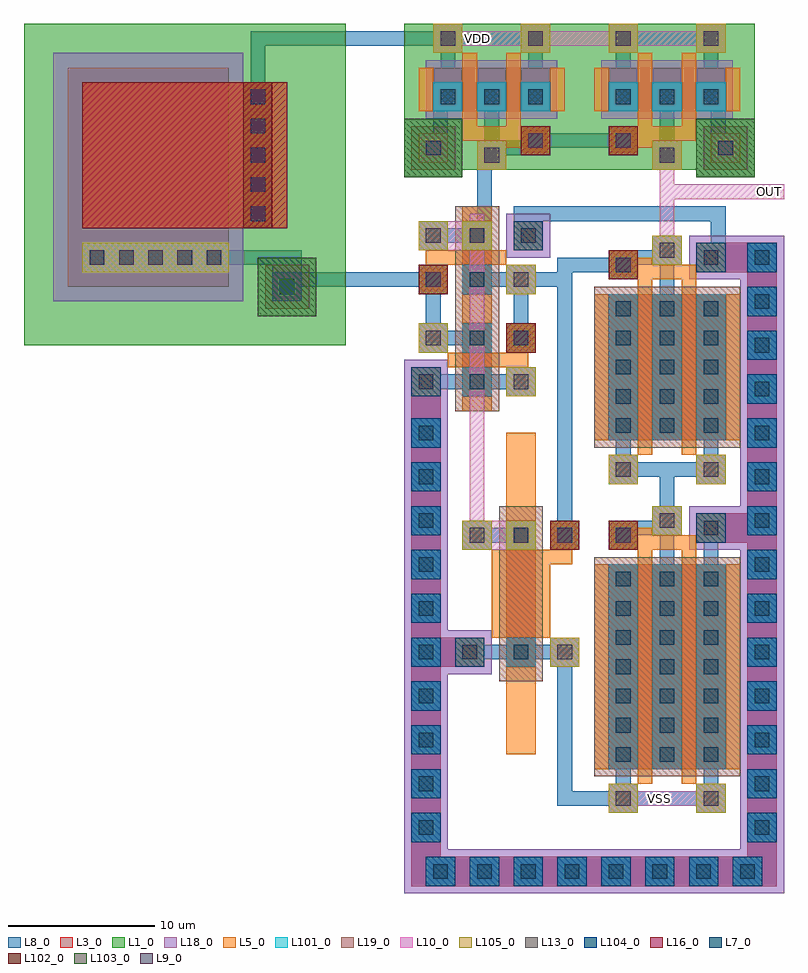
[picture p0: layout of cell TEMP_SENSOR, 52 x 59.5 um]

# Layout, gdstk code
from math import pi, radians
import gdstk
lib = gdstk.Library(unit=1e-6, precision=1e-09)
def R(c, l, rs):  # rectangles x0, y0, x1, y1
    for r in rs: c.add(gdstk.rectangle(r[:2], r[2:], *l))
L1_0 = (1, 0)
L3_0 = (3, 0)
L5_0 = (5, 0)
L7_0 = (7, 0)
L8_0 = (8, 0)
L9_0 = (9, 0)
L10_0 = (10, 0)
L13_0 = (13, 0)
L16_0 = (16, 0)
L18_0 = (18, 0)
L19_0 = (19, 0)
L101_0 = (101, 0)
L102_0 = (102, 0)
L103_0 = (103, 0)
L104_0 = (104, 0)
L105_0 = (105, 0)

dcont = lib.new_cell('dcont')
R(dcont, L3_0, [(-1,-1,1,1)])
R(dcont, L7_0, [(-0.5,-0.5,0.5,0.5)])
R(dcont, L8_0, [(-1,-1,1,1)])
R(dcont, L13_0, [(-0.5,-0.5,0.5,0.5)])
R(dcont, L101_0, [(-1,-1,1,1)])
dcont.add(gdstk.Label('dcont', (0,0), layer=13, texttype=0))

pcont = lib.new_cell('pcont')
R(pcont, L5_0, [(-1,-1,1,1)])
R(pcont, L7_0, [(-0.5,-0.5,0.5,0.5)])
R(pcont, L8_0, [(-1,-1,1,1)])
R(pcont, L13_0, [(-0.5,-0.5,0.5,0.5)])
R(pcont, L102_0, [(-1,-1,1,1)])
pcont.add(gdstk.Label('pcont', (0,0), layer=13, texttype=0))

via = lib.new_cell('Via')
R(via, L8_0, [(-1,-1,1,1)])
R(via, L9_0, [(-0.5,-0.5,0.5,0.5)])
R(via, L10_0, [(-1,-1,1,1)])
R(via, L13_0, [(-0.5,-0.5,0.5,0.5)])
R(via, L105_0, [(-1,-1,1,1)])
via.add(gdstk.Label('via', (0,0), layer=13, texttype=0))

psubcont = lib.new_cell('psubcont')
R(psubcont, L18_0, [(-1.5,-1.5,1.5,1.5)])
R(psubcont, L104_0, [(-1,-1,1,1)])
psubcont.add(gdstk.Reference(dcont, (0,0)))
psubcont.add(gdstk.Label('PScon', (0,0), layer=13, texttype=0))

nch_4 = lib.new_cell('Nch$4')
R(nch_4, L3_0, [(0,3,10,5)])
R(nch_4, L19_0, [(-1,2.5,11,5.5)])
nch_4.add(gdstk.FlexPath([(1,3),(1,5)], 2, ends="flush", simple_path=True, layer=8, datatype=0))  # L8_0
nch_4.add(gdstk.FlexPath([(9,3),(9,5)], 2, ends="flush", simple_path=True, layer=8, datatype=0))  # L8_0
nch_4.add(gdstk.FlexPath([(1,1),(1,4)], 1, ends="flush", simple_path=True, layer=8, datatype=0))  # L8_0
nch_4.add(gdstk.FlexPath([(9,5),(9,8)], 1, ends="flush", simple_path=True, layer=8, datatype=0))  # L8_0
nch_4.add(gdstk.FlexPath([(5,3),(5,5)], 6, ends=(1, 1), simple_path=True, layer=5, datatype=0))  # L5_0
nch_4.add(gdstk.FlexPath([(1,7),(2.5,7),(2.5,6)], 1, ends="flush", simple_path=True, layer=5, datatype=0))  # L5_0
nch_4.add(gdstk.Reference(dcont, (1,4)))
nch_4.add(gdstk.Reference(dcont, (9,4)))
nch_4.add(gdstk.Reference(pcont, (1,7)))
nch_4.add(gdstk.Reference(via, (1,7)))
nch_4.add(gdstk.Reference(via, (1,1)))
nch_4.add(gdstk.Reference(via, (9,7)))
nch_4.add(gdstk.Reference(psubcont, (9,0.5)))
nch_4.add(gdstk.Reference(via, (9,0.5)))

nch_2 = lib.new_cell('Nch$2')
R(nch_2, L3_0, [(0,3,8,17)])
R(nch_2, L19_0, [(-1,2.5,9,17.5)])
nch_2.add(gdstk.FlexPath([(1,3),(1,17)], 2, ends="flush", simple_path=True, layer=8, datatype=0))  # L8_0
nch_2.add(gdstk.FlexPath([(4,3),(4,17)], 2, ends="flush", simple_path=True, layer=8, datatype=0))  # L8_0
nch_2.add(gdstk.FlexPath([(7,3),(7,17)], 2, ends="flush", simple_path=True, layer=8, datatype=0))  # L8_0
nch_2.add(gdstk.FlexPath([(1,1),(1,4)], 1, ends="flush", simple_path=True, layer=8, datatype=0))  # L8_0
nch_2.add(gdstk.FlexPath([(4,17),(4,20)], 1, ends="flush", simple_path=True, layer=8, datatype=0))  # L8_0
nch_2.add(gdstk.FlexPath([(7,1),(7,4)], 1, ends="flush", simple_path=True, layer=8, datatype=0))  # L8_0
nch_2.add(gdstk.FlexPath([(1,1),(7,1)], 1, ends="flush", simple_path=True, layer=8, datatype=0))  # L8_0
nch_2.add(gdstk.FlexPath([(2.5,3),(2.5,17)], 1, ends=(1, 1), simple_path=True, layer=5, datatype=0))  # L5_0
nch_2.add(gdstk.FlexPath([(5.5,3),(5.5,17)], 1, ends=(1, 1), simple_path=True, layer=5, datatype=0))  # L5_0
nch_2.add(gdstk.FlexPath([(1,19),(2.5,19),(2.5,18)], 1, ends="flush", simple_path=True, layer=5, datatype=0))  # L5_0
nch_2.add(gdstk.FlexPath([(2,18.5),(6,18.5)], 1, ends="flush", simple_path=True, layer=5, datatype=0))  # L5_0
nch_2.add(gdstk.Reference(dcont, (1,4)))
nch_2.add(gdstk.Reference(dcont, (1,6)))
nch_2.add(gdstk.Reference(dcont, (1,8)))
nch_2.add(gdstk.Reference(dcont, (1,10)))
nch_2.add(gdstk.Reference(dcont, (1,12)))
nch_2.add(gdstk.Reference(dcont, (1,14)))
nch_2.add(gdstk.Reference(dcont, (1,16)))
nch_2.add(gdstk.Reference(dcont, (4,4)))
nch_2.add(gdstk.Reference(dcont, (4,6)))
nch_2.add(gdstk.Reference(dcont, (4,8)))
nch_2.add(gdstk.Reference(dcont, (4,10)))
nch_2.add(gdstk.Reference(dcont, (4,12)))
nch_2.add(gdstk.Reference(dcont, (4,14)))
nch_2.add(gdstk.Reference(dcont, (4,16)))
nch_2.add(gdstk.Reference(dcont, (7,4)))
nch_2.add(gdstk.Reference(dcont, (7,6)))
nch_2.add(gdstk.Reference(dcont, (7,8)))
nch_2.add(gdstk.Reference(dcont, (7,10)))
nch_2.add(gdstk.Reference(dcont, (7,12)))
nch_2.add(gdstk.Reference(dcont, (7,14)))
nch_2.add(gdstk.Reference(dcont, (7,16)))
nch_2.add(gdstk.Reference(pcont, (1,19)))
nch_2.add(gdstk.Reference(via, (1,19)))
nch_2.add(gdstk.Reference(via, (1,1)))
nch_2.add(gdstk.Reference(via, (4,20)))
nch_2.add(gdstk.Reference(via, (7,1)))
nch_2.add(gdstk.Reference(psubcont, (7,19.5)))
nch_2.add(gdstk.Reference(via, (7,19.5)))

nsubcont = lib.new_cell('nsubcont')
R(nsubcont, L1_0, [(-2,-2,2,2)])
R(nsubcont, L19_0, [(-1.5,-1.5,1.5,1.5)])
R(nsubcont, L103_0, [(-2,-2,2,2)])
nsubcont.add(gdstk.Reference(dcont, (0,0)))
nsubcont.add(gdstk.Label('NScont', (0,0), layer=13, texttype=0))

capacitor_1 = lib.new_cell('Capacitor$1')
R(capacitor_1, L1_0, [(-4,-4,18,18)])
R(capacitor_1, L3_0, [(4,-1,15,14)])
R(capacitor_1, L5_0, [(0,0,14,10)])
R(capacitor_1, L16_0, [(0,0,14,10)])
R(capacitor_1, L18_0, [(3,-2,16,15)])
capacitor_1.add(gdstk.Reference(pcont, (2,1)))
capacitor_1.add(gdstk.Reference(pcont, (2,3)))
capacitor_1.add(gdstk.Reference(pcont, (2,5)))
capacitor_1.add(gdstk.Reference(pcont, (2,7)))
capacitor_1.add(gdstk.Reference(pcont, (2,9)))
capacitor_1.add(gdstk.Reference(via, (2,1)))
capacitor_1.add(gdstk.Reference(via, (2,3)))
capacitor_1.add(gdstk.Reference(via, (2,5)))
capacitor_1.add(gdstk.Reference(via, (2,7)))
capacitor_1.add(gdstk.Reference(via, (2,9)))
capacitor_1.add(gdstk.Reference(dcont, (5,12)))
capacitor_1.add(gdstk.Reference(dcont, (7,12)))
capacitor_1.add(gdstk.Reference(dcont, (9,12)))
capacitor_1.add(gdstk.Reference(dcont, (11,12)))
capacitor_1.add(gdstk.Reference(dcont, (13,12)))
capacitor_1.add(gdstk.Reference(via, (5,12)))
capacitor_1.add(gdstk.Reference(via, (7,12)))
capacitor_1.add(gdstk.Reference(via, (9,12)))
capacitor_1.add(gdstk.Reference(via, (11,12)))
capacitor_1.add(gdstk.Reference(via, (13,12)))
capacitor_1.add(gdstk.Reference(nsubcont, (0,14)))

pch_1 = lib.new_cell('Pch$1')
R(pch_1, L1_0, [(-2,-1,10,9)])
R(pch_1, L3_0, [(0,3,8,6)])
R(pch_1, L18_0, [(-0.5,2.5,8.5,6.5)])
pch_1.add(gdstk.FlexPath([(1,3),(1,6)], 2, ends="flush", simple_path=True, layer=8, datatype=0))  # L8_0
pch_1.add(gdstk.FlexPath([(4,3),(4,6)], 2, ends="flush", simple_path=True, layer=8, datatype=0))  # L8_0
pch_1.add(gdstk.FlexPath([(7,3),(7,6)], 2, ends="flush", simple_path=True, layer=8, datatype=0))  # L8_0
pch_1.add(gdstk.FlexPath([(1,6),(1,8)], 1, ends="flush", simple_path=True, layer=8, datatype=0))  # L8_0
pch_1.add(gdstk.FlexPath([(4,0),(4,3)], 1, ends="flush", simple_path=True, layer=8, datatype=0))  # L8_0
pch_1.add(gdstk.FlexPath([(7,6),(7,8)], 1, ends="flush", simple_path=True, layer=8, datatype=0))  # L8_0
pch_1.add(gdstk.FlexPath([(1,8),(7,8)], 1, ends="flush", simple_path=True, layer=8, datatype=0))  # L8_0
pch_1.add(gdstk.FlexPath([(2.5,3),(2.5,6)], 1, ends=(1, 1), simple_path=True, layer=5, datatype=0))  # L5_0
pch_1.add(gdstk.FlexPath([(5.5,3),(5.5,6)], 1, ends=(1, 1), simple_path=True, layer=5, datatype=0))  # L5_0
pch_1.add(gdstk.FlexPath([(1,1),(2.5,1),(2.5,2)], 1, ends="flush", simple_path=True, layer=5, datatype=0))  # L5_0
pch_1.add(gdstk.FlexPath([(2,1.5),(6,1.5)], 1, ends="flush", simple_path=True, layer=5, datatype=0))  # L5_0
pch_1.add(gdstk.Reference(dcont, (1,4)))
pch_1.add(gdstk.Reference(dcont, (4,4)))
pch_1.add(gdstk.Reference(dcont, (7,4)))
pch_1.add(gdstk.Reference(pcont, (1,1)))
pch_1.add(gdstk.Reference(via, (1,1)))
pch_1.add(gdstk.Reference(via, (1,8)))
pch_1.add(gdstk.Reference(via, (4,0)))
pch_1.add(gdstk.Reference(via, (7,8)))
pch_1.add(gdstk.Reference(nsubcont, (8,0.5)))
pch_1.add(gdstk.Reference(via, (8,0.5)))

nch = lib.new_cell('Nch')
R(nch, L3_0, [(0,3,8,13)])
R(nch, L19_0, [(-1,2.5,9,13.5)])
nch.add(gdstk.FlexPath([(1,3),(1,13)], 2, ends="flush", simple_path=True, layer=8, datatype=0))  # L8_0
nch.add(gdstk.FlexPath([(4,3),(4,13)], 2, ends="flush", simple_path=True, layer=8, datatype=0))  # L8_0
nch.add(gdstk.FlexPath([(7,3),(7,13)], 2, ends="flush", simple_path=True, layer=8, datatype=0))  # L8_0
nch.add(gdstk.FlexPath([(1,1),(1,4)], 1, ends="flush", simple_path=True, layer=8, datatype=0))  # L8_0
nch.add(gdstk.FlexPath([(4,13),(4,16)], 1, ends="flush", simple_path=True, layer=8, datatype=0))  # L8_0
nch.add(gdstk.FlexPath([(7,1),(7,4)], 1, ends="flush", simple_path=True, layer=8, datatype=0))  # L8_0
nch.add(gdstk.FlexPath([(1,1),(7,1)], 1, ends="flush", simple_path=True, layer=8, datatype=0))  # L8_0
nch.add(gdstk.FlexPath([(2.5,3),(2.5,13)], 1, ends=(1, 1), simple_path=True, layer=5, datatype=0))  # L5_0
nch.add(gdstk.FlexPath([(5.5,3),(5.5,13)], 1, ends=(1, 1), simple_path=True, layer=5, datatype=0))  # L5_0
nch.add(gdstk.FlexPath([(1,15),(2.5,15),(2.5,14)], 1, ends="flush", simple_path=True, layer=5, datatype=0))  # L5_0
nch.add(gdstk.FlexPath([(2,14.5),(6,14.5)], 1, ends="flush", simple_path=True, layer=5, datatype=0))  # L5_0
nch.add(gdstk.Reference(dcont, (1,4)))
nch.add(gdstk.Reference(dcont, (1,6)))
nch.add(gdstk.Reference(dcont, (1,8)))
nch.add(gdstk.Reference(dcont, (1,10)))
nch.add(gdstk.Reference(dcont, (1,12)))
nch.add(gdstk.Reference(dcont, (4,4)))
nch.add(gdstk.Reference(dcont, (4,6)))
nch.add(gdstk.Reference(dcont, (4,8)))
nch.add(gdstk.Reference(dcont, (4,10)))
nch.add(gdstk.Reference(dcont, (4,12)))
nch.add(gdstk.Reference(dcont, (7,4)))
nch.add(gdstk.Reference(dcont, (7,6)))
nch.add(gdstk.Reference(dcont, (7,8)))
nch.add(gdstk.Reference(dcont, (7,10)))
nch.add(gdstk.Reference(dcont, (7,12)))
nch.add(gdstk.Reference(pcont, (1,15)))
nch.add(gdstk.Reference(via, (1,15)))
nch.add(gdstk.Reference(via, (1,1)))
nch.add(gdstk.Reference(via, (4,16)))
nch.add(gdstk.Reference(via, (7,1)))
nch.add(gdstk.Reference(psubcont, (7,15.5)))
nch.add(gdstk.Reference(via, (7,15.5)))

dcont_1 = lib.new_cell('dcont$1')
R(dcont_1, L3_0, [(-1,-1,1,1)])
R(dcont_1, L7_0, [(-0.5,-0.5,0.5,0.5)])
R(dcont_1, L8_0, [(-1,-1,1,1)])
R(dcont_1, L13_0, [(-0.5,-0.5,0.5,0.5)])
R(dcont_1, L101_0, [(-1,-1,1,1)])
dcont_1.add(gdstk.Label('dcont', (0,0), layer=13, texttype=0))

psubcont_1 = lib.new_cell('psubcont$1')
R(psubcont_1, L18_0, [(-1.5,-1.5,1.5,1.5)])
R(psubcont_1, L104_0, [(-1,-1,1,1)])
psubcont_1.add(gdstk.Reference(dcont_1, (0,0)))
psubcont_1.add(gdstk.Label('PScon', (0,0), layer=13, texttype=0))

via_1 = lib.new_cell('Via$1')
R(via_1, L8_0, [(-1,-1,1,1)])
R(via_1, L9_0, [(-0.5,-0.5,0.5,0.5)])
R(via_1, L10_0, [(-1,-1,1,1)])
R(via_1, L13_0, [(-0.5,-0.5,0.5,0.5)])
R(via_1, L105_0, [(-1,-1,1,1)])
via_1.add(gdstk.Label('via', (0,0), layer=13, texttype=0))

nch_6 = lib.new_cell('Nch$6')
R(nch_6, L3_0, [(0,3,5,5)])
R(nch_6, L19_0, [(-1,2.5,6,5.5)])
nch_6.add(gdstk.FlexPath([(1,3),(1,5)], 2, ends="flush", simple_path=True, layer=8, datatype=0))  # L8_0
nch_6.add(gdstk.FlexPath([(4,3),(4,5)], 2, ends="flush", simple_path=True, layer=8, datatype=0))  # L8_0
nch_6.add(gdstk.FlexPath([(1,1),(1,4)], 1, ends="flush", simple_path=True, layer=8, datatype=0))  # L8_0
nch_6.add(gdstk.FlexPath([(4,5),(4,8)], 1, ends="flush", simple_path=True, layer=8, datatype=0))  # L8_0
nch_6.add(gdstk.FlexPath([(2.5,3),(2.5,5)], 1, ends=(1, 1), simple_path=True, layer=5, datatype=0))  # L5_0
nch_6.add(gdstk.FlexPath([(1,7),(2.5,7),(2.5,6)], 1, ends="flush", simple_path=True, layer=5, datatype=0))  # L5_0
nch_6.add(gdstk.Reference(dcont, (1,4)))
nch_6.add(gdstk.Reference(dcont, (4,4)))
nch_6.add(gdstk.Reference(pcont, (1,7)))
nch_6.add(gdstk.Reference(via, (1,7)))
nch_6.add(gdstk.Reference(via, (1,1)))
nch_6.add(gdstk.Reference(via, (4,7)))
nch_6.add(gdstk.Reference(psubcont, (4,0.5)))
nch_6.add(gdstk.Reference(via, (4,0.5)))

temp_sensor = lib.new_cell('TEMP_SENSOR')
R(temp_sensor, L3_0, [(4.5,-18.5,5.5,-16.5), (24,-10,25.5,-8)])
R(temp_sensor, L8_0, [(4.5,-18.5,5.5,-16.5), (-7,8.5,-5,9)])
R(temp_sensor, L10_0, [(8,-10.5,9,-8.5), (5,10,6,12)])
R(temp_sensor, L18_0, [(2,-34,3,-31), (27,-34,28,-31), (24.5,-10.5,25,-7.5), (2,-1,5,-0.5), (24.5,8,25,11)])
temp_sensor.add(gdstk.FlexPath([(24,-9),(25.5,-9)], 2, ends="flush", simple_path=True, layer=8, datatype=0))  # L8_0
temp_sensor.add(gdstk.FlexPath([(20,-5.5),(20,-7.5)], 1, ends="flush", simple_path=True, layer=8, datatype=0))  # L8_0
temp_sensor.add(gdstk.FlexPath([(16,9),(13,9),(13,-8.5)], 1, ends="flush", simple_path=True, layer=8, datatype=0))  # L8_0
temp_sensor.add(gdstk.FlexPath([(23,-11.5),(23,-10)], 1, ends="flush", simple_path=True, layer=8, datatype=0))  # L8_0
temp_sensor.add(gdstk.FlexPath([(13,-18.5),(13,-27.5),(16,-27.5)], 1, ends="flush", simple_path=True, layer=8, datatype=0))  # L8_0
temp_sensor.add(gdstk.FlexPath([(7.5,-17.5),(9,-17.5)], 1, ends="flush", simple_path=True, layer=8, datatype=0))  # L8_0
temp_sensor.add(gdstk.FlexPath([(18,-9),(19,-9),(19,-9)], 1, ends="flush", simple_path=True, layer=8, datatype=0))  # L8_0
temp_sensor.add(gdstk.FlexPath([(3.5,-30.5),(3.5,-32.5),(26.5,-32.5),(26.5,-30.5)], 2, ends="flush", simple_path=True, layer=8, datatype=0))  # L8_0
temp_sensor.add(gdstk.FlexPath([(7.5,15.5),(7.5,12)], 1, ends="flush", simple_path=True, layer=8, datatype=0))  # L8_0
temp_sensor.add(gdstk.FlexPath([(-10,9.5),(-5,9.5)], 1, ends="flush", simple_path=True, layer=8, datatype=0))  # L8_0
temp_sensor.add(gdstk.FlexPath([(12,17.5),(16,17.5)], 1, ends="flush", simple_path=True, layer=8, datatype=0))  # L8_0
temp_sensor.add(gdstk.FlexPath([(9,17),(10,17)], 1, ends="flush", simple_path=True, layer=8, datatype=0))  # L8_0
temp_sensor.add(gdstk.FlexPath([(4.5,18),(4.5,19.5)], 1, ends="flush", simple_path=True, layer=8, datatype=0))  # L8_0
temp_sensor.add(gdstk.FlexPath([(4,24.5),(-8,24.5),(-8,21.5)], 1, ends="flush", simple_path=True, layer=8, datatype=0))  # L8_0
temp_sensor.add(gdstk.FlexPath([(23.5,18),(23.5,19.5)], 1, ends="flush", simple_path=True, layer=8, datatype=0))  # L8_0
temp_sensor.add(gdstk.FlexPath([(-5,8),(3,8)], 1, ends="flush", simple_path=True, layer=8, datatype=0))  # L8_0
temp_sensor.add(gdstk.FlexPath([(26.5,-29.5),(26.5,9.5),(23.5,9.5)], 2, ends="flush", simple_path=True, layer=8, datatype=0))  # L8_0
temp_sensor.add(gdstk.FlexPath([(18,9.5),(19,9.5)], 1, ends="flush", simple_path=True, layer=8, datatype=0))  # L8_0
temp_sensor.add(gdstk.FlexPath([(9.5,12.5),(23.5,12.5),(23.5,10.5)], 1, ends="flush", simple_path=True, layer=8, datatype=0))  # L8_0
temp_sensor.add(gdstk.FlexPath([(11,8),(12.5,8)], 1, ends="flush", simple_path=True, layer=8, datatype=0))  # L8_0
temp_sensor.add(gdstk.FlexPath([(4,7),(4,5)], 1, ends="flush", simple_path=True, layer=8, datatype=0))  # L8_0
temp_sensor.add(gdstk.FlexPath([(10,7),(10,5)], 1, ends="flush", simple_path=True, layer=8, datatype=0))  # L8_0
temp_sensor.add(gdstk.FlexPath([(6,1),(4.5,1)], 1, ends="flush", simple_path=True, layer=8, datatype=0))  # L8_0
temp_sensor.add(gdstk.FlexPath([(3.5,0.5),(3.5,-29.5)], 2, ends="flush", simple_path=True, layer=8, datatype=0))  # L8_0
temp_sensor.add(gdstk.FlexPath([(3.5,-30.5),(3.5,-32.5),(26.5,-32.5),(26.5,-30.5)], 2, ends="flush", simple_path=True, layer=3, datatype=0))  # L3_0
temp_sensor.add(gdstk.FlexPath([(23.5,9.5),(26.5,9.5),(26.5,-29.5)], 2, ends="flush", simple_path=True, layer=3, datatype=0))  # L3_0
temp_sensor.add(gdstk.FlexPath([(3.5,0.5),(3.5,-29.5)], 2, ends="flush", simple_path=True, layer=3, datatype=0))  # L3_0
temp_sensor.add(gdstk.FlexPath([(7,12.5),(7,-8.5)], 1, ends="flush", simple_path=True, layer=10, datatype=0))  # L10_0
temp_sensor.add(gdstk.FlexPath([(18,-27.5),(22,-27.5)], 1, ends="flush", simple_path=True, layer=10, datatype=0))  # L10_0
temp_sensor.add(gdstk.FlexPath([(20,15.5),(20,11)], 1, ends="flush", simple_path=True, layer=10, datatype=0))  # L10_0
temp_sensor.add(gdstk.FlexPath([(6,24.5),(22,24.5)], 1, ends="flush", simple_path=True, layer=10, datatype=0))  # L10_0
temp_sensor.add(gdstk.FlexPath([(20.5,14),(28,14)], 1, ends="flush", simple_path=True, layer=10, datatype=0))  # L10_0
temp_sensor.add(gdstk.FlexPath([(9,-5.5),(11,-5.5)], 6, ends="flush", simple_path=True, layer=5, datatype=0))  # L5_0
temp_sensor.add(gdstk.FlexPath([(9,-21.5),(11,-21.5)], 6, ends="flush", simple_path=True, layer=5, datatype=0))  # L5_0
temp_sensor.add(gdstk.FlexPath([(24.5,-11.5),(24.5,-25.5)], 1, ends="flush", simple_path=True, layer=5, datatype=0))  # L5_0
temp_sensor.add(gdstk.FlexPath([(15.5,-11.5),(15.5,-25.5)], 1, ends="flush", simple_path=True, layer=5, datatype=0))  # L5_0
temp_sensor.add(gdstk.FlexPath([(24.5,22.5),(24.5,19.5),(24.5,19.5)], 1, ends="flush", simple_path=True, layer=5, datatype=0))  # L5_0
temp_sensor.add(gdstk.FlexPath([(15.5,22.5),(15.5,19.5)], 1, ends="flush", simple_path=True, layer=5, datatype=0))  # L5_0
temp_sensor.add(gdstk.FlexPath([(12.5,22.5),(12.5,19.5)], 1, ends="flush", simple_path=True, layer=5, datatype=0))  # L5_0
temp_sensor.add(gdstk.FlexPath([(3.5,22.5),(3.5,19.5)], 1, ends="flush", simple_path=True, layer=5, datatype=0))  # L5_0
temp_sensor.add(gdstk.FlexPath([(6,12.5),(8,12.5)], 1, ends="flush", simple_path=True, layer=5, datatype=0))  # L5_0
temp_sensor.add(gdstk.FlexPath([(15.5,7),(15.5,-3)], 1, ends="flush", simple_path=True, layer=5, datatype=0))  # L5_0
temp_sensor.add(gdstk.FlexPath([(24.5,7),(24.5,-3),(24.5,-3)], 1, ends="flush", simple_path=True, layer=5, datatype=0))  # L5_0
temp_sensor.add(gdstk.FlexPath([(6,6),(8,6)], 2, ends="flush", simple_path=True, layer=5, datatype=0))  # L5_0
temp_sensor.add(gdstk.FlexPath([(6,-0.5),(8,-0.5)], 1, ends="flush", simple_path=True, layer=5, datatype=0))  # L5_0
temp_sensor.add(gdstk.Reference(nch_4, (6,-8.5), rotation=3*pi/2))
temp_sensor.add(gdstk.Reference(nch_2, (16,-28.5)))
temp_sensor.add(gdstk.Reference(capacitor_1, (-6,21.5), rotation=pi))
temp_sensor.add(gdstk.Reference(pch_1, (16,16.5)))
temp_sensor.add(gdstk.Reference(nch, (16,-6)))
temp_sensor.add(gdstk.Reference(pch_1, (12,16.5), rotation=pi, x_reflection=True))
r = gdstk.Reference(psubcont_1, (26.5,-29.5)); r.repetition = gdstk.Repetition(1, 14, v1=(0,0), v2=(0,3)); temp_sensor.add(r)
r = gdstk.Reference(psubcont_1, (3.5,-29.5)); r.repetition = gdstk.Repetition(1, 10, v1=(0,0), v2=(0,3)); temp_sensor.add(r)
temp_sensor.add(gdstk.Reference(via_1, (7,11)))
temp_sensor.add(gdstk.Reference(via_1, (10,-9.5)))
temp_sensor.add(gdstk.Reference(nch_6, (11,7), rotation=pi/2))
temp_sensor.add(gdstk.Reference(nch_6, (3,5), rotation=3*pi/2))
r = gdstk.Reference(psubcont_1, (4.5,-32.5)); r.repetition = gdstk.Repetition(8, 1, v1=(3,0), v2=(0,0)); temp_sensor.add(r)
temp_sensor.add(gdstk.Label('OUT', (27,14), layer=10, texttype=0))
temp_sensor.add(gdstk.Label('VSS', (19.5,-27.5), layer=10, texttype=0))
temp_sensor.add(gdstk.Label('VDD', (7,24.5), layer=10, texttype=0))

lib.write_gds('TEMP_SENSOR.gds')
